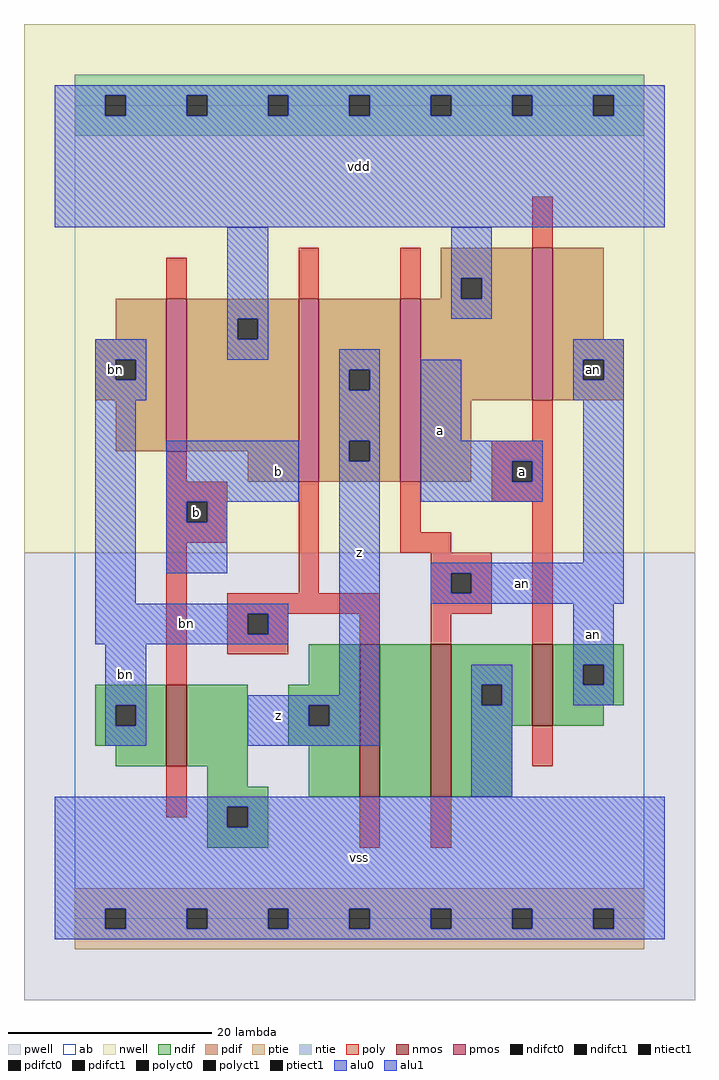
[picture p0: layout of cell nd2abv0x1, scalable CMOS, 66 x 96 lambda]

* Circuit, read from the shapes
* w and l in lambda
.subckt nd2abv0x1 a an b bn vdd vss z
M1 vss b bn vss nfet w=8 l=2
M2 n1 bn z vss nfet w=15 l=2
M3 vss an n1 vss nfet w=15 l=2
M4 an a vss vss nfet w=8 l=2
M5 vdd b bn vdd pfet w=15 l=2
M6 z bn vdd vdd pfet w=18 l=2
M7 vdd an z vdd pfet w=18 l=2
M8 an a vdd vdd pfet w=15 l=2
.ends

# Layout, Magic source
magic
tech scmos
<< ab >>
rect 0 0 56 80
<< nwell >>
rect -5 36 61 88
<< pwell >>
rect -5 -8 61 36
<< poly >>
rect 45 66 47 71
rect 9 61 11 65
rect 22 61 24 66
rect 32 61 34 66
rect 9 43 11 46
rect 45 47 47 51
rect 41 45 47 47
rect 41 43 43 45
rect 45 43 47 45
rect 9 41 15 43
rect 9 39 11 41
rect 13 39 15 41
rect 9 37 15 39
rect 9 23 11 37
rect 22 32 24 43
rect 32 38 34 43
rect 41 41 47 43
rect 32 36 37 38
rect 35 34 41 36
rect 35 32 37 34
rect 39 32 41 34
rect 15 30 30 32
rect 15 28 17 30
rect 19 28 21 30
rect 15 26 21 28
rect 28 27 30 30
rect 35 30 41 32
rect 35 27 37 30
rect 45 27 47 41
rect 9 10 11 15
rect 45 15 47 19
rect 28 7 30 12
rect 35 7 37 12
<< ndif >>
rect 23 23 28 27
rect 2 21 9 23
rect 2 19 4 21
rect 6 19 9 21
rect 2 17 9 19
rect 4 15 9 17
rect 11 15 17 23
rect 21 21 28 23
rect 21 19 23 21
rect 25 19 28 21
rect 21 17 28 19
rect 13 13 17 15
rect 13 11 19 13
rect 23 12 28 17
rect 30 12 35 27
rect 37 23 45 27
rect 37 21 40 23
rect 42 21 45 23
rect 37 19 45 21
rect 47 25 54 27
rect 47 23 50 25
rect 52 23 54 25
rect 47 21 54 23
rect 47 19 52 21
rect 37 12 43 19
rect 13 9 15 11
rect 17 9 19 11
rect 13 7 19 9
<< pdif >>
rect 36 63 45 66
rect 36 61 38 63
rect 40 61 45 63
rect 4 57 9 61
rect 2 55 9 57
rect 2 53 4 55
rect 6 53 9 55
rect 2 51 9 53
rect 4 46 9 51
rect 11 59 22 61
rect 11 57 16 59
rect 18 57 22 59
rect 11 46 22 57
rect 17 43 22 46
rect 24 54 32 61
rect 24 52 27 54
rect 29 52 32 54
rect 24 47 32 52
rect 24 45 27 47
rect 29 45 32 47
rect 24 43 32 45
rect 34 51 45 61
rect 47 57 52 66
rect 47 55 54 57
rect 47 53 50 55
rect 52 53 54 55
rect 47 51 54 53
rect 34 43 39 51
<< alu1 >>
rect -2 81 58 82
rect -2 79 3 81
rect 5 79 11 81
rect 13 79 19 81
rect 21 79 27 81
rect 29 79 35 81
rect 37 79 43 81
rect 45 79 51 81
rect 53 79 58 81
rect -2 68 58 79
rect 26 54 30 56
rect 26 52 27 54
rect 29 52 30 54
rect 26 47 30 52
rect 9 41 22 47
rect 26 45 27 47
rect 29 45 30 47
rect 9 39 11 41
rect 13 39 15 41
rect 9 34 15 39
rect 26 22 30 45
rect 34 47 38 55
rect 34 45 46 47
rect 34 43 43 45
rect 45 43 46 45
rect 34 41 46 43
rect 17 21 30 22
rect 17 19 23 21
rect 25 19 30 21
rect 17 17 30 19
rect -2 11 58 12
rect -2 9 15 11
rect 17 9 58 11
rect -2 1 58 9
rect -2 -1 3 1
rect 5 -1 11 1
rect 13 -1 19 1
rect 21 -1 27 1
rect 29 -1 35 1
rect 37 -1 43 1
rect 45 -1 51 1
rect 53 -1 58 1
rect -2 -2 58 -1
<< ptie >>
rect 0 1 56 3
rect 0 -1 3 1
rect 5 -1 11 1
rect 13 -1 19 1
rect 21 -1 27 1
rect 29 -1 35 1
rect 37 -1 43 1
rect 45 -1 51 1
rect 53 -1 56 1
rect 0 -3 56 -1
<< ntie >>
rect 0 81 56 83
rect 0 79 3 81
rect 5 79 11 81
rect 13 79 19 81
rect 21 79 27 81
rect 29 79 35 81
rect 37 79 43 81
rect 45 79 51 81
rect 53 79 56 81
rect 0 77 56 79
<< nmos >>
rect 9 15 11 23
rect 28 12 30 27
rect 35 12 37 27
rect 45 19 47 27
<< pmos >>
rect 9 46 11 61
rect 22 43 24 61
rect 32 43 34 61
rect 45 51 47 66
<< polyct0 >>
rect 37 32 39 34
rect 17 28 19 30
<< polyct1 >>
rect 43 43 45 45
rect 11 39 13 41
<< ndifct0 >>
rect 4 19 6 21
rect 40 21 42 23
rect 50 23 52 25
<< ndifct1 >>
rect 23 19 25 21
rect 15 9 17 11
<< ntiect1 >>
rect 3 79 5 81
rect 11 79 13 81
rect 19 79 21 81
rect 27 79 29 81
rect 35 79 37 81
rect 43 79 45 81
rect 51 79 53 81
<< ptiect1 >>
rect 3 -1 5 1
rect 11 -1 13 1
rect 19 -1 21 1
rect 27 -1 29 1
rect 35 -1 37 1
rect 43 -1 45 1
rect 51 -1 53 1
<< pdifct0 >>
rect 38 61 40 63
rect 4 53 6 55
rect 16 57 18 59
rect 50 53 52 55
<< pdifct1 >>
rect 27 52 29 54
rect 27 45 29 47
<< alu0 >>
rect 15 59 19 68
rect 37 63 41 68
rect 37 61 38 63
rect 40 61 41 63
rect 37 59 41 61
rect 15 57 16 59
rect 18 57 19 59
rect 2 55 7 57
rect 15 55 19 57
rect 2 53 4 55
rect 6 53 7 55
rect 2 51 7 53
rect 49 55 54 57
rect 2 31 6 51
rect 2 30 21 31
rect 2 28 17 30
rect 19 28 21 30
rect 2 27 21 28
rect 3 21 7 27
rect 49 53 50 55
rect 52 53 54 55
rect 49 51 54 53
rect 50 35 54 51
rect 35 34 54 35
rect 35 32 37 34
rect 39 32 54 34
rect 35 31 54 32
rect 49 25 53 31
rect 3 19 4 21
rect 6 19 7 21
rect 3 17 7 19
rect 39 23 43 25
rect 39 21 40 23
rect 42 21 43 23
rect 49 23 50 25
rect 52 23 53 25
rect 49 21 53 23
rect 39 12 43 21
<< labels >>
rlabel alu0 5 24 5 24 6 bn
rlabel alu0 4 54 4 54 6 bn
rlabel alu0 11 29 11 29 6 bn
rlabel alu0 44 33 44 33 6 an
rlabel alu0 51 28 51 28 6 an
rlabel pdifct0 51 54 51 54 6 an
rlabel alu1 20 20 20 20 6 z
rlabel alu1 20 44 20 44 6 b
rlabel polyct1 12 40 12 40 6 b
rlabel alu1 28 6 28 6 6 vss
rlabel alu1 28 36 28 36 6 z
rlabel alu1 36 48 36 48 6 a
rlabel alu1 28 74 28 74 6 vdd
rlabel polyct1 44 44 44 44 6 a
<< end >>
